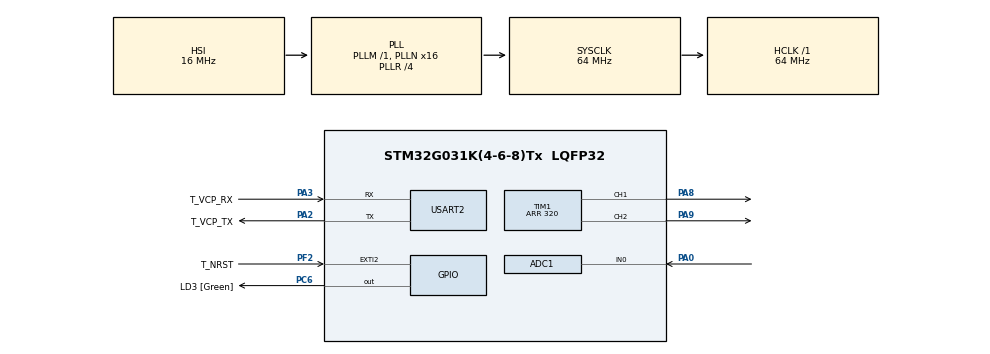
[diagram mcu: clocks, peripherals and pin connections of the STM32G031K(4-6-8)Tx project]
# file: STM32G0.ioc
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ADC1.Channel-3\#ChannelRegularConversion=ADC_CHANNEL_0
ADC1.NbrOfConversion=1
ADC1.NbrOfConversionFlag=1
ADC1.OversamplingMode=DISABLE
ADC1.Rank-3\#ChannelRegularConversion=1
ADC1.Resolution=ADC_RESOLUTION_12B
ADC1.SamplingTime-3\#ChannelRegularConversion=ADC_SAMPLINGTIME_COMMON_1
ADC1.SelectedChannel=ADC_CHANNEL_0
ADC1.master=1
Mcu.Family=STM32G0
Mcu.Name=STM32G031K(4-6-8)Tx
Mcu.Package=LQFP32
NVIC.TIM1_BRK_UP_TRG_COM_IRQn=true\:0\:0\:false\:false\:true\:true\:true\:true
NVIC.TIM1_CC_IRQn=true\:0\:0\:false\:false\:true\:true\:true\:true
NVIC.USART2_IRQn=true\:0\:0\:false\:false\:true\:true\:true\:true
PA0.Mode=IN0
PA0.Signal=ADC1_IN0
PA13.GPIO_Label=T_JTMS
PA13.Mode=Serial_Wire
PA13.Signal=SYS_SWDIO
PA14-BOOT0.GPIO_Label=T_JTCK
PA14-BOOT0.Mode=Serial_Wire
PA14-BOOT0.Signal=SYS_SWCLK
PA2.GPIO_Label=T_VCP_TX
PA2.GPIO_PuPd=GPIO_PULLUP
PA2.Mode=Asynchronous
PA2.Signal=USART2_TX
PA3.GPIO_Label=T_VCP_RX
PA3.GPIO_PuPd=GPIO_PULLUP
PA3.Mode=Asynchronous
PA3.Signal=USART2_RX
PA8.Signal=S_TIM1_CH1
PA9.Signal=S_TIM1_CH2
PC14-OSC32_IN\ (PC14).Mode=LSE-External-Oscillator
PC14-OSC32_IN\ (PC14).Signal=RCC_OSC32_IN
PC15-OSC32_OUT\ (PC15).Mode=LSE-External-Oscillator
PC15-OSC32_OUT\ (PC15).Signal=RCC_OSC32_OUT
PC6.GPIO_Label=LD3 [Green]
PC6.Signal=GPIO_Output
PF2\ -\ NRST.GPIO_Label=T_NRST
PF2\ -\ NRST.Signal=GPXTI2
ProjectManager.HeapSize=0x200
ProjectManager.StackSize=0x400
ProjectManager.TargetToolchain=STM32CubeIDE
RCC.ADCFreq_Value=64000000
RCC.AHBFreq_Value=64000000
RCC.CortexFreq_Value=64000000
RCC.EXTERNAL_CLOCK_VALUE=12288000
RCC.HCLKFreq_Value=64000000
RCC.HSE_VALUE=8000000
RCC.HSI_VALUE=16000000
RCC.PLLN=16
RCC.PLLR=RCC_PLLR_DIV4
RCC.SYSCLKFreq_VALUE=64000000
RCC.SYSCLKSource=RCC_SYSCLKSOURCE_PLLCLK
RCC.TIM1CLockSelectionVirtual=RCC_TIM1CLKSOURCE_PLL
RCC.VCOOutputFreq_Value=256000000
SH.S_TIM1_CH1.0=TIM1_CH1,PWM Generation1 CH1
SH.S_TIM1_CH2.0=TIM1_CH2,PWM Generation2 CH2
TIM1.AutomaticOutput=TIM_AUTOMATICOUTPUT_DISABLE
TIM1.Channel-PWM\ Generation1\ CH1=TIM_CHANNEL_1
TIM1.Channel-PWM\ Generation2\ CH2=TIM_CHANNEL_2
TIM1.CounterMode=TIM_COUNTERMODE_CENTERALIGNED1
TIM1.LockLevel=TIM_LOCKLEVEL_OFF
TIM1.OCFastMode_PWM-PWM\ Generation1\ CH1=TIM_OCFAST_ENABLE
TIM1.OCFastMode_PWM-PWM\ Generation2\ CH2=TIM_OCFAST_ENABLE
TIM1.OCMode_PWM-PWM\ Generation1\ CH1=TIM_OCMODE_PWM1
TIM1.OCMode_PWM-PWM\ Generation2\ CH2=TIM_OCMODE_PWM1
TIM1.OCPolarity_1=TIM_OCPOLARITY_HIGH
TIM1.OCPolarity_2=TIM_OCPOLARITY_LOW
TIM1.OffStateRunMode=TIM_OSSR_DISABLE
TIM1.Period=320
TIM1.Pulse-PWM\ Generation1\ CH1=80
TIM1.Pulse-PWM\ Generation2\ CH2=240
USART2.VirtualMode-Asynchronous=VM_ASYNC
USART2.WordLength=WORDLENGTH_8B
VP_TIM1_VS_ClockSourceINT.Mode=Internal
board=NUCLEO-G031K8

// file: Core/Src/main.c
/* USER CODE BEGIN Header */
/**
  ******************************************************************************
  * @file           : main.c
  * @brief          : Main program body
  ******************************************************************************
  * @attention
  *
  * Copyright (c) 2023 STMicroelectronics.
  * All rights reserved.
  *
  * This software is licensed under terms that can be found in the LICENSE file
  * in the root directory of this software component.
  * If no LICENSE file comes with this software, it is provided AS-IS.
  *
  ******************************************************************************
  */
/* USER CODE END Header */
#include "main.h"

/* USER CODE BEGIN Includes */
#include <stdio.h>
#include <stdlib.h>
#include <string.h>
/* USER CODE END Includes */

ADC_HandleTypeDef hadc1;

TIM_HandleTypeDef htim1;

UART_HandleTypeDef huart2;

/* USER CODE BEGIN PV */
const int ARR = 320;
const int DutyMax = ARR/2 - 10;
const float DutyStep = DutyMax / 4096.0;
volatile int pulsewidth = DutyMax/2;
volatile int PWMFlag = 0;
volatile int ADCFlag = 1;
char uart_buff[100];
int uart_buf_len;
uint8_t UART2_rxBuffer[4] = {0};

/* USER CODE END PV */

void SystemClock_Config(void);
static void MX_GPIO_Init(void);
static void MX_ADC1_Init(void);
static void MX_TIM1_Init(void);
static void MX_USART2_UART_Init(void);

int main(void)
{
  /* USER CODE BEGIN 1 */
	uint16_t AD_RES = 0;

  /* USER CODE END 1 */

  /* MCU Configuration--------------------------------------------------------*/

  /* Reset of all peripherals, Initializes the Flash interface and the Systick. */
  HAL_Init();

  /* Configure the system clock */
  SystemClock_Config();

  /* Initialize all configured peripherals */
  MX_GPIO_Init();
  MX_ADC1_Init();
  MX_TIM1_Init();
  MX_USART2_UART_Init();
  /* USER CODE BEGIN 2 */
  HAL_TIM_PWM_Start(&htim1, TIM_CHANNEL_1);
  HAL_TIM_PWM_Start(&htim1, TIM_CHANNEL_2);
  //HAL_TIMEx_PWMN_Start(&htim1, TIM_CHANNEL_1);

  uart_buf_len = sprintf(uart_buff, "Hello world!\r\n");
  HAL_UART_Transmit(&huart2, (uint8_t *)uart_buff, uart_buf_len, 100);
  HAL_UART_Receive_IT(&huart2, UART2_rxBuffer, 4);
  /* USER CODE END 2 */

  /* Infinite loop */
  while (1)
  {

    /* USER CODE BEGIN 3 */
	  if(ADCFlag)
	  	{
	  		HAL_ADC_Start(&hadc1);
	  		HAL_ADC_PollForConversion(&hadc1, 1);
	  		AD_RES = HAL_ADC_GetValue(&hadc1);
	  		//uart_buf_len = sprintf(uart_buff, "ADC Val: %d\r\n", AD_RES);
	  		//HAL_UART_Transmit(&huart2, (uint8_t *)uart_buff, uart_buf_len, 100);
	  		pulsewidth = DutyStep * AD_RES;
	  		__HAL_TIM_SET_COMPARE(&htim1, TIM_CHANNEL_1, pulsewidth);
	  		__HAL_TIM_SET_COMPARE(&htim1, TIM_CHANNEL_2, ARR - pulsewidth);

	  	}
	  HAL_Delay(100);
  }
  /* USER CODE END 3 */
}

void SystemClock_Config(void)
{
  RCC_OscInitTypeDef RCC_OscInitStruct = {0};
  RCC_ClkInitTypeDef RCC_ClkInitStruct = {0};

  /** Configure the main internal regulator output voltage
  */
  HAL_PWREx_ControlVoltageScaling(PWR_REGULATOR_VOLTAGE_SCALE1);

  /** Initializes the RCC Oscillators according to the specified parameters
  * in the RCC_OscInitTypeDef structure.
  */
  RCC_OscInitStruct.OscillatorType = RCC_OSCILLATORTYPE_HSI;
  RCC_OscInitStruct.HSIState = RCC_HSI_ON;
  RCC_OscInitStruct.HSIDiv = RCC_HSI_DIV1;
  RCC_OscInitStruct.HSICalibrationValue = RCC_HSICALIBRATION_DEFAULT;
  RCC_OscInitStruct.PLL.PLLState = RCC_PLL_ON;
  RCC_OscInitStruct.PLL.PLLSource = RCC_PLLSOURCE_HSI;
  RCC_OscInitStruct.PLL.PLLM = RCC_PLLM_DIV1;
  RCC_OscInitStruct.PLL.PLLN = 16;
  RCC_OscInitStruct.PLL.PLLP = RCC_PLLP_DIV2;
  RCC_OscInitStruct.PLL.PLLQ = RCC_PLLQ_DIV2;
  RCC_OscInitStruct.PLL.PLLR = RCC_PLLR_DIV4;
  if (HAL_RCC_OscConfig(&RCC_OscInitStruct) != HAL_OK)
  {
    Error_Handler();
  }

  /** Initializes the CPU, AHB and APB buses clocks
  */
  RCC_ClkInitStruct.ClockType = RCC_CLOCKTYPE_HCLK|RCC_CLOCKTYPE_SYSCLK
                              |RCC_CLOCKTYPE_PCLK1;
  RCC_ClkInitStruct.SYSCLKSource = RCC_SYSCLKSOURCE_PLLCLK;
  RCC_ClkInitStruct.AHBCLKDivider = RCC_SYSCLK_DIV1;
  RCC_ClkInitStruct.APB1CLKDivider = RCC_HCLK_DIV1;

  if (HAL_RCC_ClockConfig(&RCC_ClkInitStruct, FLASH_LATENCY_2) != HAL_OK)
  {
    Error_Handler();
  }
}

static void MX_ADC1_Init(void)
{

  ADC_ChannelConfTypeDef sConfig = {0};

  /** Configure the global features of the ADC (Clock, Resolution, Data Alignment and number of conversion)
  */
  hadc1.Instance = ADC1;
  hadc1.Init.ClockPrescaler = ADC_CLOCK_SYNC_PCLK_DIV2;
  hadc1.Init.Resolution = ADC_RESOLUTION_12B;
  hadc1.Init.DataAlign = ADC_DATAALIGN_RIGHT;
  hadc1.Init.ScanConvMode = ADC_SCAN_DISABLE;
  hadc1.Init.EOCSelection = ADC_EOC_SINGLE_CONV;
  hadc1.Init.LowPowerAutoWait = DISABLE;
  hadc1.Init.LowPowerAutoPowerOff = DISABLE;
  hadc1.Init.ContinuousConvMode = DISABLE;
  hadc1.Init.NbrOfConversion = 1;
  hadc1.Init.DiscontinuousConvMode = DISABLE;
  hadc1.Init.ExternalTrigConv = ADC_SOFTWARE_START;
  hadc1.Init.ExternalTrigConvEdge = ADC_EXTERNALTRIGCONVEDGE_NONE;
  hadc1.Init.DMAContinuousRequests = DISABLE;
  hadc1.Init.Overrun = ADC_OVR_DATA_PRESERVED;
  hadc1.Init.SamplingTimeCommon1 = ADC_SAMPLETIME_1CYCLE_5;
  hadc1.Init.SamplingTimeCommon2 = ADC_SAMPLETIME_1CYCLE_5;
  hadc1.Init.OversamplingMode = DISABLE;
  hadc1.Init.TriggerFrequencyMode = ADC_TRIGGER_FREQ_HIGH;
  if (HAL_ADC_Init(&hadc1) != HAL_OK)
  {
    Error_Handler();
  }

  /** Configure Regular Channel
  */
  sConfig.Channel = ADC_CHANNEL_0;
  sConfig.Rank = ADC_REGULAR_RANK_1;
  sConfig.SamplingTime = ADC_SAMPLINGTIME_COMMON_1;
  if (HAL_ADC_ConfigChannel(&hadc1, &sConfig) != HAL_OK)
  {
    Error_Handler();
  }

}

static void MX_TIM1_Init(void)
{

  TIM_ClockConfigTypeDef sClockSourceConfig = {0};
  TIM_MasterConfigTypeDef sMasterConfig = {0};
  TIM_OC_InitTypeDef sConfigOC = {0};
  TIM_BreakDeadTimeConfigTypeDef sBreakDeadTimeConfig = {0};

  htim1.Instance = TIM1;
  htim1.Init.Prescaler = 0;
  htim1.Init.CounterMode = TIM_COUNTERMODE_CENTERALIGNED1;
  htim1.Init.Period = 320;
  htim1.Init.ClockDivision = TIM_CLOCKDIVISION_DIV1;
  htim1.Init.RepetitionCounter = 0;
  htim1.Init.AutoReloadPreload = TIM_AUTORELOAD_PRELOAD_DISABLE;
  if (HAL_TIM_Base_Init(&htim1) != HAL_OK)
  {
    Error_Handler();
  }
  sClockSourceConfig.ClockSource = TIM_CLOCKSOURCE_INTERNAL;
  if (HAL_TIM_ConfigClockSource(&htim1, &sClockSourceConfig) != HAL_OK)
  {
    Error_Handler();
  }
  if (HAL_TIM_PWM_Init(&htim1) != HAL_OK)
  {
    Error_Handler();
  }
  sMasterConfig.MasterOutputTrigger = TIM_TRGO_RESET;
  sMasterConfig.MasterOutputTrigger2 = TIM_TRGO2_RESET;
  sMasterConfig.MasterSlaveMode = TIM_MASTERSLAVEMODE_DISABLE;
  if (HAL_TIMEx_MasterConfigSynchronization(&htim1, &sMasterConfig) != HAL_OK)
  {
    Error_Handler();
  }
  sConfigOC.OCMode = TIM_OCMODE_PWM1;
  sConfigOC.Pulse = 80;
  sConfigOC.OCPolarity = TIM_OCPOLARITY_HIGH;
  sConfigOC.OCNPolarity = TIM_OCNPOLARITY_HIGH;
  sConfigOC.OCFastMode = TIM_OCFAST_ENABLE;
  sConfigOC.OCIdleState = TIM_OCIDLESTATE_RESET;
  sConfigOC.OCNIdleState = TIM_OCNIDLESTATE_RESET;
  if (HAL_TIM_PWM_ConfigChannel(&htim1, &sConfigOC, TIM_CHANNEL_1) != HAL_OK)
  {
    Error_Handler();
  }
  sConfigOC.Pulse = 240;
  sConfigOC.OCPolarity = TIM_OCPOLARITY_LOW;
  if (HAL_TIM_PWM_ConfigChannel(&htim1, &sConfigOC, TIM_CHANNEL_2) != HAL_OK)
  {
    Error_Handler();
  }
  sBreakDeadTimeConfig.OffStateRunMode = TIM_OSSR_DISABLE;
  sBreakDeadTimeConfig.OffStateIDLEMode = TIM_OSSI_DISABLE;
  sBreakDeadTimeConfig.LockLevel = TIM_LOCKLEVEL_OFF;
  sBreakDeadTimeConfig.DeadTime = 0;
  sBreakDeadTimeConfig.BreakState = TIM_BREAK_DISABLE;
  sBreakDeadTimeConfig.BreakPolarity = TIM_BREAKPOLARITY_HIGH;
  sBreakDeadTimeConfig.BreakFilter = 0;
  sBreakDeadTimeConfig.BreakAFMode = TIM_BREAK_AFMODE_INPUT;
  sBreakDeadTimeConfig.Break2State = TIM_BREAK2_DISABLE;
  sBreakDeadTimeConfig.Break2Polarity = TIM_BREAK2POLARITY_HIGH;
  sBreakDeadTimeConfig.Break2Filter = 0;
  sBreakDeadTimeConfig.Break2AFMode = TIM_BREAK_AFMODE_INPUT;
  sBreakDeadTimeConfig.AutomaticOutput = TIM_AUTOMATICOUTPUT_DISABLE;
  if (HAL_TIMEx_ConfigBreakDeadTime(&htim1, &sBreakDeadTimeConfig) != HAL_OK)
  {
    Error_Handler();
  }
  HAL_TIM_MspPostInit(&htim1);

}

static void MX_USART2_UART_Init(void)
{

  huart2.Instance = USART2;
  huart2.Init.BaudRate = 115200;
  huart2.Init.WordLength = UART_WORDLENGTH_8B;
  huart2.Init.StopBits = UART_STOPBITS_1;
  huart2.Init.Parity = UART_PARITY_NONE;
  huart2.Init.Mode = UART_MODE_TX_RX;
  huart2.Init.HwFlowCtl = UART_HWCONTROL_NONE;
  huart2.Init.OverSampling = UART_OVERSAMPLING_16;
  huart2.Init.OneBitSampling = UART_ONE_BIT_SAMPLE_DISABLE;
  huart2.Init.ClockPrescaler = UART_PRESCALER_DIV1;
  huart2.AdvancedInit.AdvFeatureInit = UART_ADVFEATURE_NO_INIT;
  if (HAL_UART_Init(&huart2) != HAL_OK)
  {
    Error_Handler();
  }

}

static void MX_GPIO_Init(void)
{
  GPIO_InitTypeDef GPIO_InitStruct = {0};

  /* GPIO Ports Clock Enable */
  __HAL_RCC_GPIOC_CLK_ENABLE();
  __HAL_RCC_GPIOF_CLK_ENABLE();
  __HAL_RCC_GPIOA_CLK_ENABLE();

  /*Configure GPIO pin Output Level */
  HAL_GPIO_WritePin(LD3_GPIO_Port, LD3_Pin, GPIO_PIN_RESET);

  /*Configure GPIO pin : T_NRST_Pin */
  GPIO_InitStruct.Pin = T_NRST_Pin;
  GPIO_InitStruct.Mode = GPIO_MODE_IT_RISING;
  GPIO_InitStruct.Pull = GPIO_NOPULL;
  HAL_GPIO_Init(T_NRST_GPIO_Port, &GPIO_InitStruct);

  /*Configure GPIO pin : LD3_Pin */
  GPIO_InitStruct.Pin = LD3_Pin;
  GPIO_InitStruct.Mode = GPIO_MODE_OUTPUT_PP;
  GPIO_InitStruct.Pull = GPIO_NOPULL;
  GPIO_InitStruct.Speed = GPIO_SPEED_FREQ_LOW;
  HAL_GPIO_Init(LD3_GPIO_Port, &GPIO_InitStruct);

}

/* USER CODE BEGIN 4 */
void HAL_TIM_PWM_PulseFinishedCallback(TIM_HandleTypeDef *htim)
{

	if(PWMFlag)
	{
		PWMFlag=0;
		__HAL_TIM_SET_COMPARE(&htim1, TIM_CHANNEL_1, pulsewidth);
		__HAL_TIM_SET_COMPARE(&htim1, TIM_CHANNEL_2, 0);
		//pulsewidth++;
	}
	else
	{
		PWMFlag=1;
		__HAL_TIM_SET_COMPARE(&htim1, TIM_CHANNEL_1, 0);
		__HAL_TIM_SET_COMPARE(&htim1, TIM_CHANNEL_2, pulsewidth);
	}
	if(pulsewidth>640)
	{
		pulsewidth=0;
	}
}

void HAL_UART_RxCpltCallback(UART_HandleTypeDef *huart)
{
    //HAL_UART_Transmit(&huart2, UART2_rxBuffer, 4, 100);
    ADCFlag = 0;
	pulsewidth= atoi(UART2_rxBuffer);
    if(pulsewidth > DutyMax)
    {
    	pulsewidth = DutyMax;
    	ADCFlag=1;
    }
    uart_buf_len = sprintf(uart_buff, "Pulse width: %d\r\n", pulsewidth);
    HAL_UART_Transmit(&huart2, (uint8_t *)uart_buff, uart_buf_len, 100);
	__HAL_TIM_SET_COMPARE(&htim1, TIM_CHANNEL_1, pulsewidth);
	__HAL_TIM_SET_COMPARE(&htim1, TIM_CHANNEL_2, ARR - pulsewidth);
	HAL_UART_Receive_IT(&huart2, UART2_rxBuffer, 4);
}
/* USER CODE END 4 */

void Error_Handler(void)
{
  __disable_irq();
  while (1)
  {
  }
}
